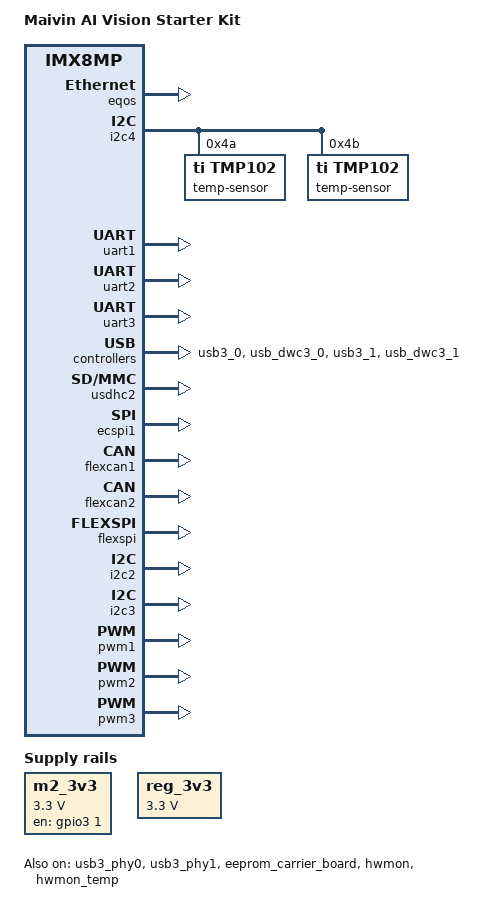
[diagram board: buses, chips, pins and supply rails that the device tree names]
// SPDX-License-Identifier: GPL-2.0+ OR MIT
/*
* Copyright 2021 Au-Zone
*/

/dts-v1/;

#include "imx8mp-maivin.dtsi"

/ {
	model = "Maivin AI Vision Starter Kit";
	compatible = "toradex,verdin-imx8mp-nonwifi",
	"toradex,verdin-imx8mp",
	"fsl,imx8mp";

	m2_3v3: regulator-m2-3v3 {
		compatible = "regulator-fixed";
		regulator-name = "M2_3V3";
		regulator-max-microvolt = <3300000>;
		regulator-min-microvolt = <3300000>;
		pinctrl-0 = <&pinctrl_m2_3v3>;
		gpio = <&gpio3 1 GPIO_ACTIVE_HIGH>;
		enable-active-high;
	};

	/* Carrier Board Supply 3V3_SW */
	reg_3v3: regulator-3v3-sw {
		compatible = "regulator-fixed";
		regulator-max-microvolt = <3300000>;
		regulator-min-microvolt = <3300000>;
		regulator-name = "3V3_SW";
	};
};

&eqos {
	status = "okay";
};

/* Disable IEEE power saving */
&ethphy0 {
	eee-broken-100tx;
	eee-broken-1000t;
};

/* Verdin I2C_2_DSI */
#if 0
&i2c2 {
	status = "okay";

	clock-frequency = <400000>;
	scl-gpios = <&gpio5 16 (GPIO_ACTIVE_HIGH | GPIO_OPEN_DRAIN)>;
	sda-gpios = <&gpio5 17 (GPIO_ACTIVE_HIGH | GPIO_OPEN_DRAIN)>;

	dac@d {
		compatible = "ti,dac081c081", "ti,dac5571";
		reg = <0x0d>;
		vref-supply = <&csi_3v3>;
	};
};
#endif
/* Verdin I2C_1 */
&i2c4 {
	status = "okay";

	/* To be compatible with old versions of the board */
	temp-sensor@4a {
		compatible = "ti,tmp102","tmp102";
		reg = <0x4a>;
	};

	temp-sensor@4b {
		compatible = "ti,tmp102", "tmp102";
		reg = <0x4b>;
	};
};

&iomuxc {
	pinctrl-0 = <&pinctrl_gpio1>, <&pinctrl_gpio2>,
	<&pinctrl_gpio3>, <&pinctrl_gpio4>,
	<&pinctrl_gpio_hog1>, <&pinctrl_gpio_hog2>, <&pinctrl_gpio_hog3>,
	<&pinctrl_hdmi_hog>;

	pinctrl_flexspi0: flexspi0grp {
		fsl,pins = <
		MX8MP_IOMUXC_NAND_READY_B__GPIO3_IO16           0x1C4   /* SODIMM 64 */
		/*
		* Setting bit 8(Pull up select field) high to enable pull
		* Setting bit 7(Input select field) high to use Schmitt
		* Setting bit 2(Drive strength field) high
		* Setting bit 6(Pull Up/Down config field) high
		* This needs to be a pull up since when the SW1 switch is pressed it is
		* shorting this pin to ground
		*/

		MX8MP_IOMUXC_NAND_DATA00__FLEXSPI_A_DATA00      0x82    /* SODIMM 56 */
		MX8MP_IOMUXC_NAND_DATA03__FLEXSPI_A_DATA03      0x82    /* SODIMM 62 */
		>;
	};


	pinctrl_m2_3v3: m2-3v3-grp {
		fsl,pins = <
		MX8MP_IOMUXC_NAND_CE0_B__GPIO3_IO01             0x82    /* SODIMM 54 */
		>;
	};

	powerdown_enable: pwdn_en {
		fsl,pins = <
		MX8MP_IOMUXC_SAI3_TXD__GPIO5_IO01               0x142   /* SODIMM 46  */
		>;
	};

	reset_enable: reset_en {
		fsl,pins = <
		MX8MP_IOMUXC_SAI3_RXD__GPIO4_IO30               0x142   /* SODIMM 48 */
		>;
	};
};


&reg_usdhc2_vmmc {
	vin-supply = <&reg_3v3>;
};

/* Verdin UART_1 to Maivin RS-485 on rear connector */
&uart1 {
	fsl,uart-has-rtscts;
	linux,rs485-enabled-at-boot-time;
	rs485-rts-active-low;
	rs485-rx-during-tx;
	status = "okay";
};

/* Verdin UART_2, for M.2 card slot */
&uart2 {
	status = "okay";
};

/* Verdin UART_3, internal UART headers used as the Linux Console */
&uart3 {
	status = "okay";
};

/* Verdin USB_1, USB recovery */
&usb3_phy0 {
	status = "okay";
};

&usb3_0 {
	status = "okay";
};

&usb_dwc3_0 {
	status = "okay";
};

/* Verdin USB_2, for M.2 card slot */
&usb3_phy1 {
	status = "okay";
};

&usb3_1 {
	status = "okay";
};

&usb_dwc3_1 {
	status = "okay";
};

&reg_usdhc2_vmmc {
	vin-supply = <&reg_3p3v>;
};

/* Verdin SD_1, for SD card slot */
&usdhc2 {
	/* Limit frequency on dev board due to long traces and bad signal integrity */
	// TODO: Is this needed on Maivin?
	max-frequency = <100000000>;
	status = "okay";
};

/* Verdin SPI_1 */
&ecspi1 {
	status = "okay";
};

/* EEPROM on Verdin Development board */
&eeprom_carrier_board {
	status = "okay";
};

&eqos {
	status = "okay";
};

&flexcan1 {
	status = "okay";
};

&flexcan2 {
	status = "okay";
};

/* Verdin QSPI_1 */
&flexspi {
	status = "okay";
};

/* Current measurement into module VCC */
&hwmon {
	status = "okay";
};

&hwmon_temp {
	vs-supply = <&reg_1p8v>;
	status = "okay";
};

/* Verdin I2C_2_DSI */
&i2c2 {
	status = "okay";
};

&i2c3 {
	status = "okay";
};

/* Verdin I2C_1 */
&i2c4 {
	status = "okay";
};

/* Verdin PWM_1 */
&pwm1 {
	status = "okay";
};

/* Verdin PWM_2 */
&pwm2 {
	status = "okay";
};

/* Verdin PWM_3_DSI */
&pwm3 {
	status = "okay";
};
